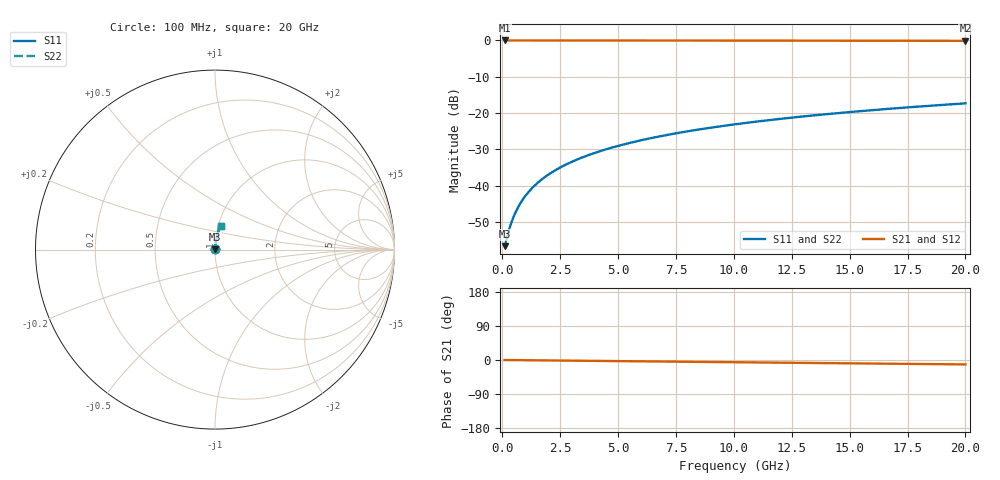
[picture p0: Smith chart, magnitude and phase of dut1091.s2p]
! Touchstone file exported from HFSS 2026.1.0
!  File:  C:/ffzhzh/LocalFiles/Ansys_Project_Files/temp_train_TSV_1091_1783190317_43440.aedt
!  Generated:  02:40:41 AM Jul  5, 2026
!  Design:  TSV
!  Project:  temp_train_TSV_1091_1783190317_43440
! Variables:
!  h_bsmrdl = 2um
!  h_ox = 20um
!  h_rdl = 5um
!  h_sub = 83.46um
!  h_tmrdl = 5um
!  h_tsv = 83.46um
!  h_via = 3um
!  l_bsmrdl = 300um
!  l_sub = 405.52um
!  l_tmrdl = 200um
!  m_sub = 200um
!  pitch = 46.92um
!  r_tsv = 2.76um
!  s_tmrdl = 10um
!  w_bsmrdl = 18um
!  w_sub = 500um
!  w_tmrdl = 12um
!  x_tsv_center1 = 206um
!  x_tsv_center2 = 524um
!  x_tsv_center3 = 736um
!  x_tsv_center4 = 1054um
!  x_tsv_center5 = 1266um
!  x_tsv_center6 = 1584um
# GHz S MA R 50.000000
! Terminal data exported
! Port[1] = TSV1_1_T1
! Port[2] = TSV1_1_T2
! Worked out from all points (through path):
!   200 points, 100 MHz to 20 GHz, reference 50 ohm
!   highest |S21| = -0.01 dB at 100 MHz (marker M1); lowest = -0.1 dB at 20 GHz (marker M2)
!   group delay of S21, straight-line fit = 1.62 ps
!   lowest |S11| = -56.7 dB at 100 MHz (marker M3), VSWR 1.00, Z = 50.1 + j0.0716 ohm
!   |S11| at or under -10 dB: start of sweep to end of sweep
!   |S22| runs from -56.7 to -17.4 dB; largest |S21 - S12| = 4.3e-15
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0.1  0.001458 29.3  0.9987 -0.1  0.9987 -0.1  0.001458 29.3
! Gamma 0 0 0 0
! Port Impedance 50 0 50 0
0.3  0.002496 58.9  0.9987 -0.2  0.9987 -0.2  0.002496 58.9
0.4  0.003129 65.4  0.9987 -0.2  0.9987 -0.2  0.003129 65.4
0.5  0.003787 69.7  0.9987 -0.3  0.9987 -0.3  0.003787 69.7
0.6  0.004458 72.6  0.9987 -0.4  0.9987 -0.4  0.004458 72.6
0.7  0.005138 74.8  0.9987 -0.4  0.9987 -0.4  0.005138 74.8
0.9  0.006514 77.7  0.9987 -0.5  0.9987 -0.5  0.006514 77.7
1.2  0.008597 80.3  0.9986 -0.7  0.9986 -0.7  0.008597 80.3
1.4  0.009993 81.4  0.9986 -0.8  0.9986 -0.8  0.009993 81.4
1.7  0.01209 82.5  0.9986 -1.0  0.9986 -1.0  0.01209 82.5
2.2  0.0156 83.5  0.9985 -1.3  0.9985 -1.3  0.0156 83.5
2.8  0.0198 84.1  0.9983 -1.7  0.9983 -1.7  0.0198 84.1
3.5  0.0247 84.3  0.9982 -2.1  0.9982 -2.1  0.0247 84.3
4.2  0.02959 84.3  0.9979 -2.5  0.9979 -2.5  0.02959 84.3
5  0.03516 84.2  0.9976 -3.0  0.9976 -3.0  0.03516 84.2
5.9  0.04139 83.9  0.9973 -3.5  0.9973 -3.5  0.04139 83.9
6.8  0.0476 83.5  0.9968 -4.0  0.9968 -4.0  0.0476 83.5
8.3  0.05788 82.8  0.9961 -4.9  0.9961 -4.9  0.05788 82.8
10.1  0.07011 82.0  0.995 -6.0  0.995 -6.0  0.07011 82.0
13.4  0.09227 80.3  0.9927 -7.9  0.9927 -7.9  0.09227 80.3
16.7  0.1141 78.5  0.9901 -9.8  0.9901 -9.8  0.1141 78.5
20  0.1356 76.8  0.987 -11.7  0.987 -11.7  0.1356 76.8
